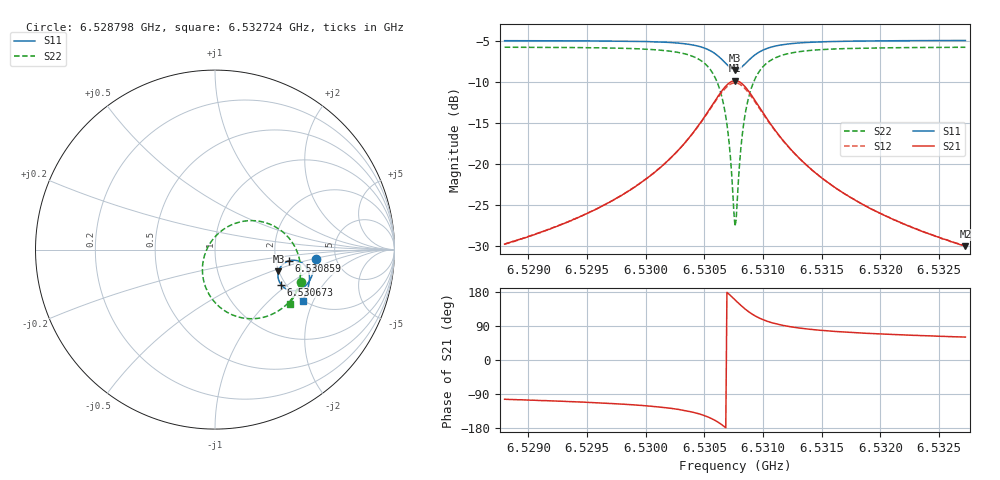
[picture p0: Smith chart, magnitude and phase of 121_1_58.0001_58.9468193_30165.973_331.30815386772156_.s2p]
#  HZ  S  RI  R  50.00
! Rohde & Schwarz Vector Network Analyzer
! Rohde-Schwarz,ZNB20-2Port,1311601062101988,3.16
! Created: UTC 3/21/2024, 12:55:42 AM
! freq[Hz]  re:S11  im:S11  re:S21  im:S21  re:S12  im:S12  re:S22  im:S22
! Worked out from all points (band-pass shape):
!   401 points, 6.528798 GHz to 6.532724 GHz, reference 50 ohm
!   highest |S21| = -9.85 dB at 6.530761 GHz (marker M1); lowest = -30.0 dB at 6.532724 GHz (marker M2)
!   |S21| within 3 dB of the highest: 6.530566 GHz to 6.530958 GHz (392.6 kHz wide, 0.00601 % of centre)
!   lowest |S11| = -8.5 dB at 6.530761 GHz (marker M3), VSWR 2.19, Z = 99.4 - j28.1 ohm
!   |S11| at or under -10 dB: nowhere
!   |S22| runs from -27.6 to -5.8 dB; largest |S21 - S12| = 0.013
!   S11 on the Smith chart (normalised r, x): 6.528798 GHz: 3.48, -0.55; 6.530673 GHz: 1.89, -0.89; 6.530859 GHz: 2.35, -0.36; 6.532724 GHz: 1.98, -1.66
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6.5287983e9  0.5606 -0.0538  -0.0077 -0.0317  -0.00833 -0.0316  0.4803 -0.1826
6.5294557e9  0.5513 -0.1096  -0.0173 -0.0452  -0.0185 -0.0448  0.4482 -0.2453
6.5297992e9  0.5413 -0.1425  -0.029 -0.058  -0.0305 -0.0574  0.4173 -0.2864
6.5301132e9  0.524 -0.1777  -0.0525 -0.0778  -0.0548 -0.0763  0.3635 -0.3347
6.5303389e9  0.4968 -0.2082  -0.0938 -0.0984  -0.0969 -0.0952  0.2795 -0.3746
6.5305058e9  0.4518 -0.2283  -0.165 -0.1057  -0.1677 -0.0987  0.1481 -0.3796
6.5306039e9  0.4049 -0.2231  -0.238 -0.0788  -0.2373 -0.0683  0.026 -0.3201
6.5306726e9  0.3679 -0.1949  -0.2924 -0.0178  -0.286 -0.00704  -0.0532 -0.207
6.530702e9  0.3563 -0.1737  -0.3068 0.0222  -0.298 0.0319  -0.069 -0.1374
6.5307511e9  0.3519 -0.1305  -0.3049 0.1007  -0.2932 0.1057  -0.0504 -0.00938
6.5307609e9  0.3537 -0.1215  -0.2999 0.1164  -0.288 0.1202  -0.039 0.0151
6.5307707e9  0.3566 -0.1129  -0.2935 0.1313  -0.2813 0.1341  -0.0255 0.0382
6.5307805e9  0.3603 -0.1047  -0.2853 0.1455  -0.2735 0.1473  -0.00967 0.0599
6.5308198e9  0.3824 -0.0777  -0.2423 0.1913  -0.2322 0.1895  0.0693 0.1267
6.530859e9  0.4105 -0.0627  -0.1914 0.2159  -0.1839 0.2126  0.1579 0.1577
6.5309277e9  0.4557 -0.0613  -0.1124 0.2189  -0.1086 0.2155  0.2905 0.1471
6.5310259e9  0.4959 -0.083  -0.044 0.187  -0.0423 0.185  0.4005 0.0772
6.5311731e9  0.5197 -0.1195  -0.0027 0.1386  -0.00147 0.1379  0.4615 -0.0217
6.5314184e9  0.5266 -0.1633  0.0151 0.0906  0.0163 0.0903  0.477 -0.1223
6.5317226e9  0.5217 -0.2008  0.0184 0.0616  0.0195 0.0612  0.4671 -0.191
6.5320759e9  0.5111 -0.2344  0.018 0.0437  0.0187 0.0435  0.4496 -0.2407
6.5327236e9  0.4878 -0.2848  0.0156 0.0276  0.0163 0.0273  0.4161 -0.3007
